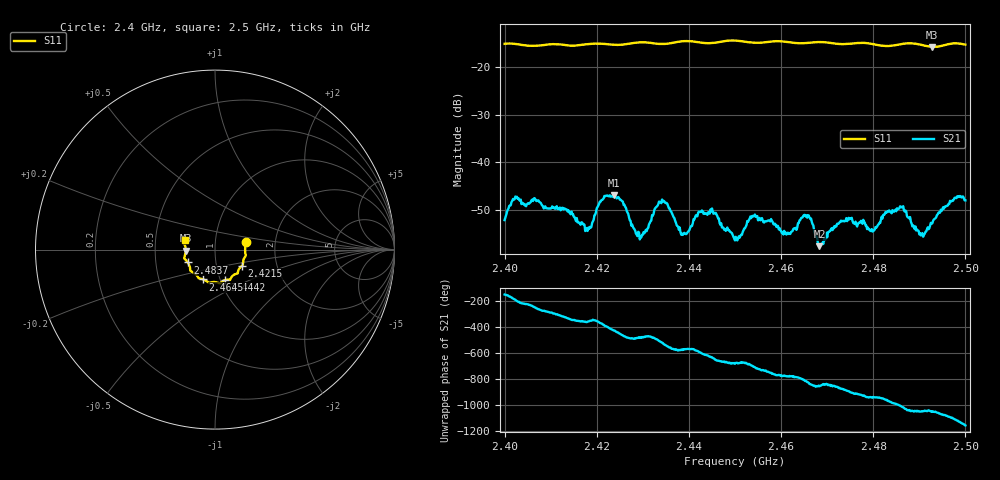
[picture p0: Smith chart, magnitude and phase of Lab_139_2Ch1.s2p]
# Hz S RI R 50
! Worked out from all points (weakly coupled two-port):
!   601 points, 2.4 GHz to 2.5 GHz, reference 50 ohm
!   highest |S21| = -46.88 dB at 2.4237 GHz (marker M1); lowest = -57.6 dB at 2.4683 GHz (marker M2)
!   lowest |S11| = -15.7 dB at 2.4928 GHz (marker M3), VSWR 1.39, Z = 36 - j0.38 ohm
!   |S11| at or under -10 dB: start of sweep to end of sweep
!   S12 and S22 are empty: the file has one direction only
!   S11 on the Smith chart (normalised r, x): 2.4 GHz: 1.41, +0.12; 2.4215 GHz: 1.33, -0.25; 2.4442 GHz: 1.05, -0.37; 2.4645 GHz: 0.83, -0.29; 2.4837 GHz: 0.73, -0.11; 2.5 GHz: 0.71, +0.07
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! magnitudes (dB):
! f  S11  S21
! 2.4 GHz  -15.1  -52.1
! 2.4027 GHz  -15.2  -47.2
! 2.4167 GHz  -15.3  -52.5
! 2.4185 GHz  -15.1  -53.5
! 2.4215 GHz  -15.1  -47.5
! 2.4237 GHz  -15.3  -46.9
! 2.4292 GHz  -14.8  -54.7
! 2.4333 GHz  -15.1  -48.8
! 2.4388 GHz  -14.5  -54.9
! 2.4442 GHz  -15.0  -50.5
! 2.45 GHz  -14.4  -56.4
! 2.4538 GHz  -14.8  -51.2
! 2.4615 GHz  -14.7  -54.7
! 2.4645 GHz  -15.0  -51.6
! 2.4667 GHz  -14.8  -52.5
! 2.4683 GHz  -14.7  -57.6
! 2.4833 GHz  -15.6  -50.1
! 2.4837 GHz  -15.5  -50.4
! 2.4863 GHz  -15.1  -49.3
! 2.4905 GHz  -15.3  -55.2
! 2.4928 GHz  -15.7  -52.8
! 2.5 GHz  -15.3  -48.0
